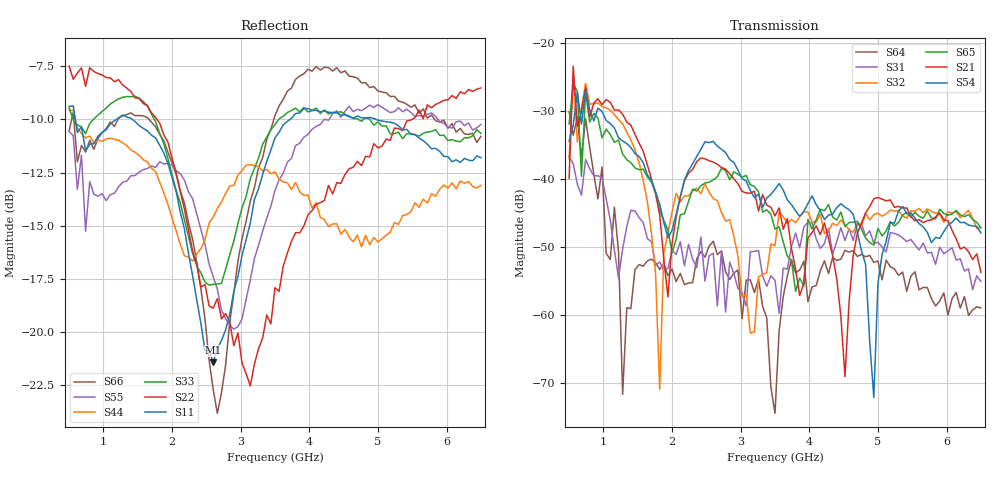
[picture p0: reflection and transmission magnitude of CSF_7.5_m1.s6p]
!Keysight Technologies,M9804A,MY58100912,A.14.10.03
!Date: Thursday, April 27, 2023 10:28:33
!Correction: S11(C  6-Port  )
!S12(C  6-Port  )
!S13(C  6-Port  )
!S14(C  6-Port  )
!S15(C  6-Port  )
!S16(C  6-Port  )
!S21(C  6-Port  )
!S22(C  6-Port  )
!S23(C  6-Port  )
!S24(C  6-Port  )
!S25(C  6-Port  )
!S26(C  6-Port  )
!S31(C  6-Port  )
!S32(C  6-Port  )
!S33(C  6-Port  )
!S34(C  6-Port  )
!S35(C  6-Port  )
!S36(C  6-Port  )
!S41(C  6-Port  )
!S42(C  6-Port  )
!S43(C  6-Port  )
!S44(C  6-Port  )
!S45(C  6-Port  )
!S46(C  6-Port  )
!S51(C  6-Port  )
!S52(C  6-Port  )
!S53(C  6-Port  )
!S54(C  6-Port  )
!S55(C  6-Port  )
!S56(C  6-Port  )
!S61(C  6-Port  )
!S62(C  6-Port  )
!S63(C  6-Port  )
!S64(C  6-Port  )
!S65(C  6-Port  )
!S66(C  6-Port  )
!S6P File: Measurement: :
# Hz S  RI  R 50
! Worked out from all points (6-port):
!   101 points, 500 MHz to 6.5 GHz, reference 50 ohm
!   strongest paths, dB at 500 MHz, 2 GHz, 3.5 GHz, 5 GHz, 6.5 GHz:
!     S54: -34.5, -47.6, -41.6, -55.4, -48.0
!     S21: -40.0, -49.5, -45.5, -42.8, -53.8
!     S65: -32.0, -50.9, -47.4, -47.3, -47.2
!     S32: -37.2, -44.9, -49.8, -45.1, -47.2
!     S31: -36.7, -50.5, -54.9, -49.4, -55.1
!     S64: -30.2, -53.3, -74.5, -52.1, -59.0
!   lowest |S11| = -21.4 dB at 2.6 GHz (marker M1), VSWR 1.19, Z = 42.5 + j2.22 ohm
!   |S11| at or under -10 dB: 590.5 MHz to 1.189 GHz (598.8 MHz wide, 67.3 % of centre); 1.423 GHz to 3.718 GHz (2.295 GHz wide, 89.3 % of centre); 4.974 GHz to end of sweep
